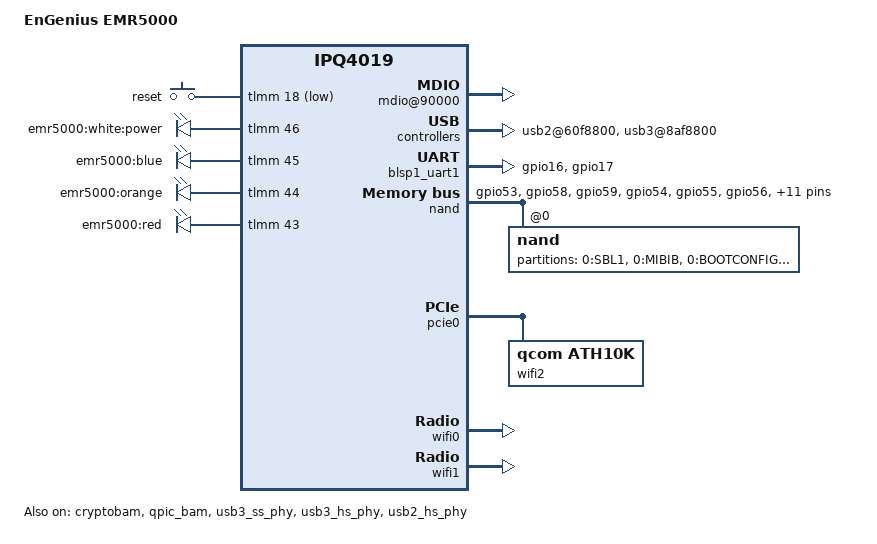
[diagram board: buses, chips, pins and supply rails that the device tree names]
// SPDX-License-Identifier: GPL-2.0-or-later OR MIT

#include "qcom-ipq4019.dtsi"
#include <dt-bindings/gpio/gpio.h>
#include <dt-bindings/input/input.h>
#include <dt-bindings/soc/qcom,tcsr.h>

/ {
	model = "EnGenius EMR5000";
	compatible = "engenius,emr5000";

	chosen {
		/*
		 * Overwrite u-boot mtdparts cmdline parameters
		 */
		 bootargs-append = " root=/dev/ubiblock0_1";
	};

	soc {
		rng@22000 {
			status = "okay";
		};

		mdio@90000 {
			status = "okay";
		};

		ess-psgmii@98000 {
			status = "okay";
		};

		tcsr@1949000 {
			compatible = "qcom,tcsr";
			reg = <0x1949000 0x100>;
			qcom,wifi_glb_cfg = <TCSR_WIFI_GLB_CFG>;
		};

		tcsr@194b000 {
			compatible = "qcom,tcsr";
			reg = <0x194b000 0x100>;
			qcom,usb-hsphy-mode-select = <TCSR_USB_HSPHY_HOST_MODE>;
		};

		ess_tcsr@1953000 {
			compatible = "qcom,tcsr";
			reg = <0x1953000 0x1000>;
			qcom,ess-interface-select = <TCSR_ESS_PSGMII>;
		};

		tcsr@1957000 {
			compatible = "qcom,tcsr";
			reg = <0x1957000 0x100>;
			qcom,wifi_noc_memtype_m0_m2 = <TCSR_WIFI_NOC_MEMTYPE_M0_M2>;
		};

		usb2@60f8800 {
			status = "okay";
		};

		usb3@8af8800 {
			status = "okay";
		};


		crypto@8e3a000 {
			status = "okay";
		};

		watchdog@b017000 {
			status = "okay";
		};

		ess-switch@c000000 {
			status = "okay";
		};

		edma@c080000 {
			status = "ok";
		};
	};

	keys {
		compatible = "gpio-keys";

		reset {
			label = "reset";
			gpios = <&tlmm 18 GPIO_ACTIVE_LOW>;
			linux,code = <KEY_RESTART>;
		};
	};

	aliases {
		led-boot = &power;
		led-failsafe = &power;
		led-running = &power;
		led-upgrade = &power;
	};

	leds {
		compatible = "gpio-leds";

		power: white {
			label = "emr5000:white:power";
			gpios = <&tlmm 46 GPIO_ACTIVE_HIGH>;
		};

		blue {
			label = "emr5000:blue";
			gpios = <&tlmm 45 GPIO_ACTIVE_HIGH>;
		};

		orange {
			label = "emr5000:orange";
			gpios = <&tlmm 44 GPIO_ACTIVE_HIGH>;
		};

		red {
			label = "emr5000:red";
			gpios = <&tlmm 43 GPIO_ACTIVE_HIGH>;
		};
	};
};

&blsp_dma {
	status = "okay";
};

&blsp1_uart1 {
	pinctrl-0 = <&serial_0_pins>;
	pinctrl-names = "default";
	status = "okay";
};

&cryptobam {
	status = "okay";
};

&nand {
	pinctrl-0 = <&nand_pins>;
	pinctrl-names = "default";
	status = "okay";

	nand@0 {
		partitions {
			compatible = "fixed-partitions";
			#address-cells = <1>;
			#size-cells = <1>;

			partition@0 {
				label = "0:SBL1";
				reg = <0x0 0x100000>;
				read-only;
			};

			partition@100000 {
				label = "0:MIBIB";
				reg = <0x100000 0x100000>;
				read-only;
			};

			partition@200000 {
				label = "0:BOOTCONFIG";
				reg = <0x200000 0x100000>;
				read-only;
			};

			partition@300000 {
				label = "0:QSEE";
				reg = <0x300000 0x100000>;
				read-only;
			};

			partition@400000 {
				label = "0:QSEE_ALT";
				reg = <0x400000 0x100000>;
				read-only;
			};

			partition@500000 {
				label = "0:CDT";
				reg = <0x500000 0x80000>;
				read-only;
			};

			partition@580000 {
				label = "0:CDT_ALT";
				reg = <0x580000 0x80000>;
				read-only;
			};

			partition@600000 {
				label = "0:DDRPARAMS";
				reg = <0x600000 0x80000>;
				read-only;
			};

			partition@680000 {
				label = "0:APPSBLENV";
				reg = <0x680000 0x80000>;
				// writable -- U-Boddot environment
			};

			partition@700000 {
				label = "0:APPSBL";
				reg = <0x700000 0x200000>;
				read-only;
			};

			partition@900000 {
				label = "0:APPSBL_ALT";
				reg = <0x900000 0x200000>;
				read-only;
			};

			partition@b00000 {
				label = "0:ART";
				reg = <0xb00000 0x80000>;
				read-only;
			};

			partition@b80000 {
				label = "rootfs";
				reg = <0xb80000 0x3a40000>;
			};

			partition@45c0000 {
				label = "rootfs2";
				reg = <0x45c0000 0x3a40000>;
			};
		};
	};
};

&pcie0 {
	status = "okay";
	perst-gpio = <&tlmm 38 GPIO_ACTIVE_LOW>;

	bridge@0,0 {
		reg = <0x00000000 0 0 0 0>;
		#address-cells = <3>;
		#size-cells = <2>;
		ranges;

		wifi2: wifi@1,0 {
			compatible = "qcom,ath10k";
			reg = <0x00010000 0 0 0 0>;
			ieee80211-freq-limit = <5170000 5330000>;
			qcom,ath10k-calibration-variant = "EnGenius-EMR5000";
		};
	};
};

&qpic_bam {
	status = "ok";
};

&tlmm {
	nand_pins: nand_pins {
		pullups {
			pins = "gpio53", "gpio58", "gpio59";
			function = "qpic";
			bias-pull-up;
		};

		pulldowns {
			pins = "gpio54", "gpio55", "gpio56",
				"gpio57", "gpio60", "gpio61",
				"gpio62", "gpio63", "gpio64",
				"gpio65", "gpio66", "gpio67",
				"gpio68", "gpio69";
			function = "qpic";
			bias-pull-down;
		};
	};

	serial_0_pins: serial_pinmux {
		mux {
			pins = "gpio16", "gpio17";
			function = "blsp_uart0";
			bias-disable;
		};
	};
};

&usb3_ss_phy {
	status = "okay";
};

&usb3_hs_phy {
	status = "okay";
};

&usb2_hs_phy {
	status = "okay";
};

&wifi0 {
	status = "ok";
	qcom,ath10k-calibration-variant = "EnGenius-EMR5000";
};

&wifi1 {
	status = "ok";
	ieee80211-freq-limit = <5490000 5835000>;
	qcom,ath10k-calibration-variant = "EnGenius-EMR5000";
};
